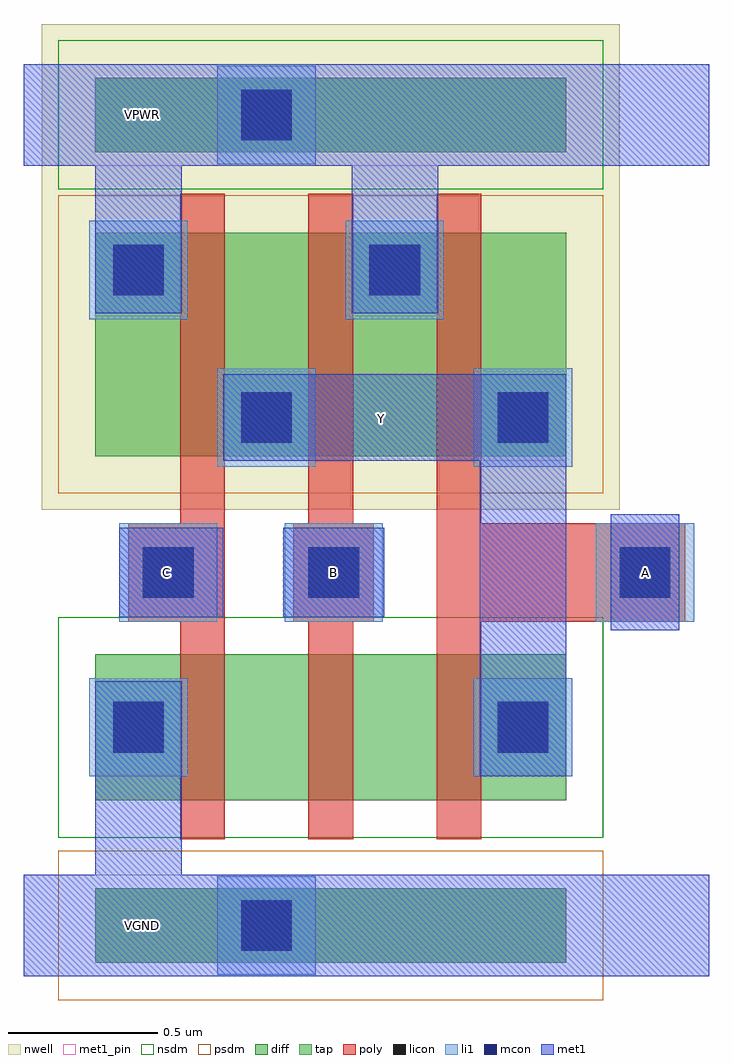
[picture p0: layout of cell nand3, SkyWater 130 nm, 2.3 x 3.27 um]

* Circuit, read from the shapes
.subckt nand3 A B C VGND VPWR Y
XM1 n1 C VGND VGND sky130_fd_pr__nfet_01v8 w=0.49 l=0.15
XM2 n2 B n1 VGND sky130_fd_pr__nfet_01v8 w=0.49 l=0.15
XM3 Y A n2 VGND sky130_fd_pr__nfet_01v8 w=0.49 l=0.15
XM4 Y C VPWR VPWR sky130_fd_pr__pfet_01v8 w=0.75 l=0.15
XM5 VPWR B Y VPWR sky130_fd_pr__pfet_01v8 w=0.75 l=0.15
XM6 Y A VPWR VPWR sky130_fd_pr__pfet_01v8 w=0.75 l=0.15
.ends

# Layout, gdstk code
import gdstk
lib = gdstk.Library(unit=1e-6, precision=1e-09)
def R(c, l, rs):  # rectangles x0, y0, x1, y1
    for r in rs: c.add(gdstk.rectangle(r[:2], r[2:], *l))
def A(c, l, x, y, w, h, nx, ny, dx, dy):  # array of equal rectangles
    R(c, l, [(x+i*dx, y+j*dy, x+i*dx+w, y+j*dy+h) for i in range(nx) for j in range(ny)])
nwell = (64, 20)
diff = (65, 20)
tap = (65, 44)
poly = (66, 20)
licon = (66, 44)
li1 = (67, 20)
mcon = (67, 44)
met1_pin = (68, 16)
met1 = (68, 20)
nsdm = (93, 44)
psdm = (94, 20)

nand3 = lib.new_cell('nand3')
R(nand3, nwell, [(-0.24,1.395,1.7,3.025)])
R(nand3, diff, [(-0.06,-0.125,1.52,0.125), (-0.06,0.42,1.52,0.91), (-0.06,1.575,1.52,2.325), (-0.06,2.595,1.52,2.845)])
R(nand3, tap, [(-0.06,-0.125,1.52,0.125), (-0.06,2.595,1.52,2.845)])
A(nand3, poly, 0.225, 0.29, 0.15, 2.165, 3, 1, 0.43, 0)
R(nand3, poly, [(0.05,1.02,0.375,1.35), (0.605,1.02,0.875,1.35), (1.085,1.02,1.92,1.35)])
R(nand3, licon, [(0.43,-0.085,0.6,0.085), (0,0.58,0.17,0.75), (1.29,0.58,1.46,0.75), (0.1,1.1,0.27,1.27), (0.655,1.1,0.825,1.27), (1.7,1.1,1.87,1.27), (0.43,1.62,0.6,1.79), (1.29,1.62,1.46,1.79), (0,2.115,0.17,2.285), (0.86,2.115,1.03,2.285), (0.43,2.635,0.6,2.805)])
R(nand3, li1, [(0.35,-0.165,0.68,0.165), (-0.08,0.5,0.25,0.83), (1.21,0.5,1.54,0.83), (0.02,1.02,0.35,1.35), (0.575,1.02,0.905,1.35), (1.62,1.02,1.95,1.35), (0.35,1.54,0.68,1.87), (1.21,1.54,1.54,1.87), (-0.08,2.035,0.25,2.365), (0.78,2.035,1.11,2.365), (0.35,2.555,0.68,2.885)])
R(nand3, mcon, [(0.43,-0.085,0.6,0.085), (0,0.58,0.17,0.75), (1.29,0.58,1.46,0.75), (0.1,1.1,0.27,1.27), (0.655,1.1,0.825,1.27), (1.7,1.1,1.87,1.27), (0.43,1.62,0.6,1.79), (1.29,1.62,1.46,1.79), (0,2.115,0.17,2.285), (0.86,2.115,1.03,2.285), (0.43,2.635,0.6,2.805)])
R(nand3, met1_pin, [(-0.3,-0.17,2,0.17), (1.67,0.99,1.9,1.38), (0.02,1.035,0.37,1.335), (0.57,1.035,0.91,1.335), (0.37,1.56,1.52,1.85), (-0.3,2.55,2,2.89)])
R(nand3, met1, [(-0.3,-0.17,2,0.17), (-0.06,0.1,0.23,0.82), (1.23,0.5,1.52,1.85), (1.67,0.99,1.9,1.38), (0.02,1.035,0.37,1.335), (0.57,1.035,0.91,1.335), (0.37,1.56,1.52,1.85), (-0.06,2.055,0.23,2.6), (0.8,2.055,1.09,2.6), (-0.3,2.55,2,2.89)])
R(nand3, nsdm, [(-0.185,0.295,1.645,1.035), (-0.185,2.47,1.645,2.97)])
R(nand3, psdm, [(-0.185,-0.25,1.645,0.25), (-0.185,1.45,1.645,2.45)])
nand3.add(gdstk.Label('VGND', (0.1,0), layer=68, texttype=5))
nand3.add(gdstk.Label('VPWR', (0.1,2.72), layer=68, texttype=5))
nand3.add(gdstk.Label('C', (0.18,1.185), layer=68, texttype=5))
nand3.add(gdstk.Label('B', (0.74,1.185), layer=68, texttype=5))
nand3.add(gdstk.Label('A', (1.785,1.185), layer=68, texttype=5))
nand3.add(gdstk.Label('Y', (0.9,1.7), layer=68, texttype=5))
nand3.add(gdstk.Label('VGND', (0.1,0), layer=68, texttype=16))
nand3.add(gdstk.Label('VPWR', (0.1,2.72), layer=68, texttype=16))
nand3.add(gdstk.Label('C', (0.18,1.185), layer=68, texttype=16))
nand3.add(gdstk.Label('B', (0.74,1.185), layer=68, texttype=16))
nand3.add(gdstk.Label('A', (1.785,1.185), layer=68, texttype=16))
nand3.add(gdstk.Label('Y', (0.9,1.7), layer=68, texttype=16))

lib.write_gds('nand3.gds')
